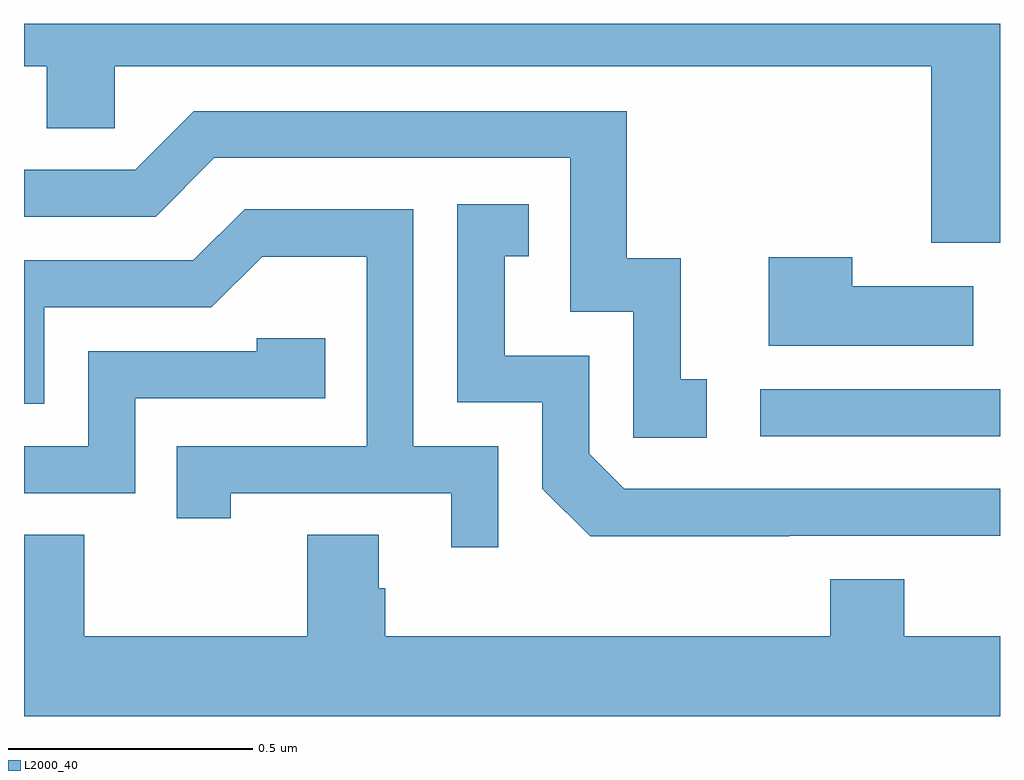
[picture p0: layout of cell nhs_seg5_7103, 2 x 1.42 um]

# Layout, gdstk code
import gdstk
lib = gdstk.Library(unit=1e-6, precision=1e-09)
def R(c, l, rs):  # rectangles x0, y0, x1, y1
    for r in rs: c.add(gdstk.rectangle(r[:2], r[2:], *l))
def P(c, l, *ps):  # polygons
    for p in ps: c.add(gdstk.Polygon(p, *l))
L2000_40 = (2000, 40)

nhs_seg5_7103 = lib.new_cell('nhs_seg5_7103')
R(nhs_seg5_7103, L2000_40, [(205.509,903.954,206,904.05)])
P(nhs_seg5_7103, L2000_40, [(206,904.799),(204,904.799),(204,904.712),(204.047,904.712),(204.047,904.585),(204.186,904.585),(204.186,904.712),(205.859,904.712),(205.859,904.35),(206,904.35)],
  [(205.399,904.071),(205.346,904.071),(205.346,904.318),(205.235,904.318),(205.235,904.62),(204.348,904.62),(204.228,904.5),(204,904.5),(204,904.404),(204.27,904.404),(204.39,904.524),(205.119,904.524),(205.119,904.209),(205.248,904.209),(205.248,903.951),(205.399,903.951)],
  [(205.568,903.75),(206,903.75),(206,903.846),(205.23,903.846),(205.158,903.918),(205.158,904.119),(204.985,904.119),(204.985,904.323),(205.034,904.323),(205.034,904.429),(204.888,904.429),(204.888,904.023),(205.062,904.023),(205.062,903.846),(205.16,903.749),(205.568,903.749)],
  [(204.972,903.933),(204.798,903.933),(204.798,904.419),(204.452,904.419),(204.347,904.314),(204,904.314),(204,904.02),(204.042,904.02),(204.042,904.218),(204.384,904.218),(204.488,904.322),(204.702,904.322),(204.702,903.933),(204.313,903.933),(204.313,903.786),(204.424,903.786),(204.424,903.837),(204.875,903.837),(204.875,903.726),(204.972,903.726)],
  [(205.945,904.261),(205.697,904.261),(205.697,904.321),(205.526,904.321),(205.526,904.139),(205.945,904.139)],
  [(204.228,904.032),(204.617,904.032),(204.617,904.155),(204.477,904.155),(204.477,904.128),(204.132,904.128),(204.132,903.933),(204,903.933),(204,903.837),(204.228,903.837)],
  [(206,903.544),(205.804,903.544),(205.804,903.661),(205.652,903.661),(205.652,903.544),(204.74,903.544),(204.74,903.642),(204.727,903.642),(204.727,903.752),(204.58,903.752),(204.58,903.544),(204.123,903.544),(204.123,903.752),(204,903.752),(204,903.38),(206,903.38)])

lib.write_gds('nhs_seg5_7103.gds')
